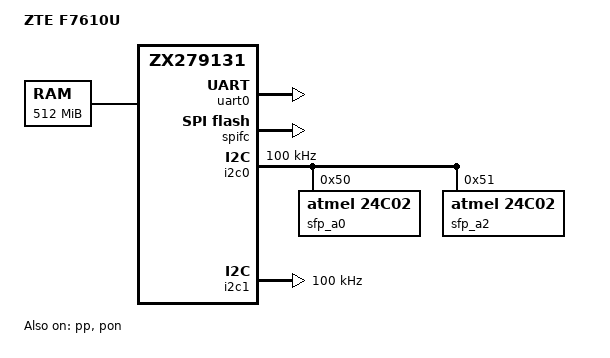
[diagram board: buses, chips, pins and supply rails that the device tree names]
// SPDX-License-Identifier: GPL-2.0-only OR BSD-2-Clause
/*
 * ZTE F7610U (ZX279131) board - minimal bring-up.
 * Boots the mainline kernel from U-Boot via TFTP + bootm, serial console only.
 */
/dts-v1/;

#include "zx279131.dtsi"

/ {
	model = "ZTE F7610U";
	compatible = "zte,zx279131-f7610u", "zte,zx279131";

	aliases {
		serial0 = &uart0;
	};

	chosen {
		stdout-path = "serial0:115200n8";
	};

	memory@80000000 {
		device_type = "memory";
		reg = <0x0 0x80000000 0x0 0x20000000>;
	};

	/*
	 * D1: the bootloader leaves its live PP engine working set in the
	 * low DDR - TXPOOL 0x80000000, RXPOOL 0x80400000, TBL0 0x80800000,
	 * TBL1 0x80808000, RXRING 0x80A00000, ringA 0x80A10000 and ringB
	 * 0x80A18000.  The kernel used to load at 0x80200000 and physically
	 * overwrite that whole window.  Carve it out with no-map so the
	 * engine state survives into Linux; the kernel now loads at
	 * 0x8C000000 (see f7610u-bringup.its).
	 */
	reserved-memory {
		#address-cells = <2>;
		#size-cells = <2>;
		ranges;

		pp_uboot: pp-uboot@80000000 {
			reg = <0x0 0x80000000 0x0 0x00b00000>;
			no-map;
		};
	};
};

&uart0 {
	status = "okay";
};

&spifc {
	status = "okay";
};

/* Packet engine: bring up the PP DMA/BMU + CPU-port netdev */
&pp {
	status = "okay";
};

/*
 * I2C controllers.  Register layout in the vendor 4.1.25 kernel was recovered
 * by disassembling zx_i2c_read_data/zx_i2c_write_data/zx_i2c_init_ctr; the
 * block is clocked and reset by the bootloader, so the driver only has to
 * program the command/divider registers.
 *
 * i2c0 (0x14f03000) is the bus the GPON optical module sits on (SFF-8472
 * EEPROM at 7-bit 0x50/0x51, also reachable as 8-bit 0xA0/0xA2, which is what
 * the vendor "optical" module uses).
 */
&{/soc} {
	i2c0: i2c@14f03000 {
		compatible = "zte,zx-i2c";
		reg = <0x0 0x14f03000 0x0 0x1000>;
		#address-cells = <1>;
		#size-cells = <0>;
		clock-frequency = <100000>;
		status = "okay";

		/*
		 * ZTE BOSA optical module: SFF-8472 A0 (identity) at 0x50 and
		 * A2 (digital diagnostics) at 0x51.  Exposing them through the
		 * at24 driver lets userspace read the DDM without poking the
		 * i2c controller by hand.
		 */
		sfp_a0: eeprom@50 {
			compatible = "atmel,24c02";
			reg = <0x50>;
			pagesize = <8>;
		};

		sfp_a2: eeprom@51 {
			compatible = "atmel,24c02";
			reg = <0x51>;
			pagesize = <8>;
		};
	};

	i2c1: i2c@14f04000 {
		compatible = "zte,zx-i2c";
		reg = <0x0 0x14f04000 0x0 0x1000>;
		#address-cells = <1>;
		#size-cells = <0>;
		clock-frequency = <100000>;
		status = "okay";
	};

	/*
	 * PON front-end.  The vendor node lists seven register ranges and its
	 * driver maps them with of_iomap() index 0..6; the order matters and is
	 * mirrored here (sys_ctrl, top_crm, pin_mux, ncs_pll, serdes, mac, efuse).
	 *
	 * interrupts: GIC SPI 0x25, level high.  /proc/interrupts shows it as
	 * hwirq 69 because the SPI numbers reported there are offset by 32.
	 */
	pon: pon@10e00000 {
		compatible = "zte,zx279131-pon";
		reg = <0x0 0x10e00000 0x0 0x10000>,
		      <0x0 0x10e10000 0x0 0x10000>,
		      <0x0 0x10e20000 0x0 0x10000>,
		      <0x0 0x10e30000 0x0 0x10000>,
		      <0x0 0x10e40000 0x0 0x10000>,
		      <0x0 0x17000000 0x0 0x1000000>,
		      <0x0 0x14f0d000 0x0 0x1000>;
		interrupts = <0 0x25 4>;
		status = "okay";
	};

	/*
	 * GPIO bank 2 (0x10d10080..0x10d100bf).  Only this bank is described
	 * because it holds the optical module signals - line 15 is GPIO47,
	 * the BOSA RX signal detect (RX_OP_SD in the vendor GPIO table) which
	 * luci-app-pon wants for "optical signal detected".
	 */
	gpio2: gpio@10d10080 {
		compatible = "zte,zx279133-gpio";
		reg = <0x0 0x10d10080 0x0 0x40>;
		interrupts = <0 15 4>;
		ngpios = <16>;
		gpio-controller;
		#gpio-cells = <2>;
	};
};
